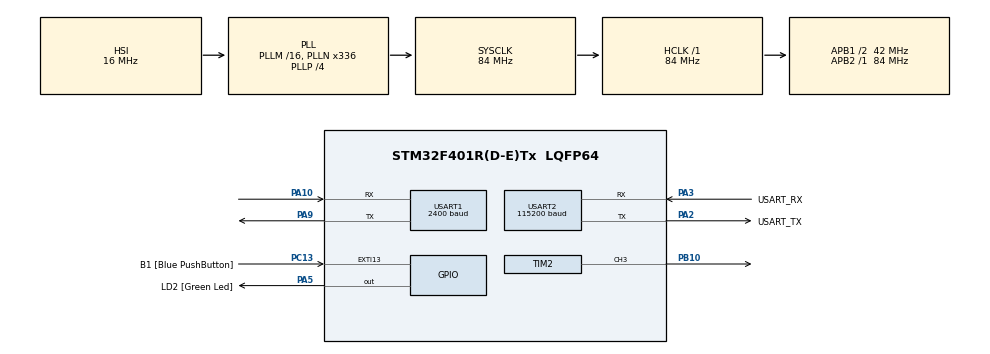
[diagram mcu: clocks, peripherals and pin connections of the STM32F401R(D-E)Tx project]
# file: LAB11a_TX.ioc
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Mcu.Family=STM32F4
Mcu.Name=STM32F401R(D-E)Tx
Mcu.Package=LQFP64
NVIC.PriorityGroup=NVIC_PRIORITYGROUP_2
NVIC.TIM3_IRQn=true\:0\:0\:false\:false\:true\:true\:true
NVIC.USART1_IRQn=true\:3\:0\:true\:false\:true\:true\:true
NVIC.USART2_IRQn=true\:3\:0\:true\:false\:true\:true\:true
PA10.Mode=Asynchronous
PA10.Signal=USART1_RX
PA13.GPIO_Label=TMS
PA13.Mode=Serial_Wire
PA13.Signal=SYS_JTMS-SWDIO
PA14.GPIO_Label=TCK
PA14.Mode=Serial_Wire
PA14.Signal=SYS_JTCK-SWCLK
PA2.GPIO_Label=USART_TX
PA2.GPIO_Mode=GPIO_MODE_AF_PP
PA2.GPIO_PuPd=GPIO_NOPULL
PA2.GPIO_Speed=GPIO_SPEED_FREQ_LOW
PA2.Mode=Asynchronous
PA2.Signal=USART2_TX
PA3.GPIO_Label=USART_RX
PA3.GPIO_Mode=GPIO_MODE_AF_PP
PA3.GPIO_PuPd=GPIO_NOPULL
PA3.GPIO_Speed=GPIO_SPEED_FREQ_LOW
PA3.Mode=Asynchronous
PA3.Signal=USART2_RX
PA5.GPIO_Label=LD2 [Green Led]
PA5.GPIO_Mode=GPIO_MODE_OUTPUT_PP
PA5.GPIO_PuPd=GPIO_NOPULL
PA5.GPIO_Speed=GPIO_SPEED_FREQ_LOW
PA5.Signal=GPIO_Output
PA9.Mode=Asynchronous
PA9.Signal=USART1_TX
PB10.Signal=S_TIM2_CH3
PB3.GPIO_Label=SWO
PB3.Signal=SYS_JTDO-SWO
PC13-ANTI_TAMP.GPIO_Label=B1 [Blue PushButton]
PC13-ANTI_TAMP.GPIO_ModeDefaultEXTI=GPIO_MODE_IT_FALLING
PC13-ANTI_TAMP.GPIO_PuPd=GPIO_NOPULL
PC13-ANTI_TAMP.Signal=GPXTI13
PC14-OSC32_IN.Mode=LSE-External-Oscillator
PC14-OSC32_IN.Signal=RCC_OSC32_IN
PC15-OSC32_OUT.Mode=LSE-External-Oscillator
PC15-OSC32_OUT.Signal=RCC_OSC32_OUT
PH0\ -\ OSC_IN.Mode=HSE-External-Clock-Source
PH0\ -\ OSC_IN.Signal=RCC_OSC_IN
PH1\ -\ OSC_OUT.Mode=HSE-External-Clock-Source
PH1\ -\ OSC_OUT.Signal=RCC_OSC_OUT
ProjectManager.HeapSize=0x200
ProjectManager.StackSize=0x400
ProjectManager.TargetToolchain=STM32CubeIDE
RCC.48MHZClocksFreq_Value=48000000
RCC.AHBFreq_Value=84000000
RCC.APB1CLKDivider=RCC_HCLK_DIV2
RCC.APB1Freq_Value=42000000
RCC.APB1TimFreq_Value=84000000
RCC.APB2Freq_Value=84000000
RCC.APB2TimFreq_Value=84000000
RCC.CortexFreq_Value=84000000
RCC.HCLKFreq_Value=84000000
RCC.HSE_VALUE=8000000
RCC.HSI_VALUE=16000000
RCC.PLLN=336
RCC.PLLP=RCC_PLLP_DIV4
RCC.PLLQ=7
RCC.SYSCLKFreq_VALUE=84000000
RCC.SYSCLKSource=RCC_SYSCLKSOURCE_PLLCLK
RCC.VCOOutputFreq_Value=336000000
SH.S_TIM2_CH3.0=TIM2_CH3,PWM Generation3 CH3
TIM2.Channel-PWM\ Generation3\ CH3=TIM_CHANNEL_3
TIM2.Period=10-1
TIM2.Prescaler=220
TIM2.Pulse-PWM\ Generation3\ CH3=5
TIM3.Period=10-1
TIM3.Prescaler=3500-1
USART1.BaudRate=2400
USART1.VirtualMode=VM_ASYNC
USART1.WordLength=WORDLENGTH_8B
USART2.BaudRate=115200
USART2.VirtualMode=VM_ASYNC
USART2.WordLength=WORDLENGTH_8B
VP_TIM2_VS_ClockSourceINT.Mode=Internal
VP_TIM3_VS_ClockSourceINT.Mode=Internal
board=NUCLEO-F401RE

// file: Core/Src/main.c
/* USER CODE BEGIN Header */
/**
  ******************************************************************************
  * @file           : main.c
  * @brief          : Main program body
  ******************************************************************************
  * @attention
  *
  * <h2><center>&copy; Copyright (c) 2021 STMicroelectronics.
  * All rights reserved.</center></h2>
  *
  * This software component is licensed by ST under BSD 3-Clause license,
  * the "License"; You may not use this file except in compliance with the
  * License. You may obtain a copy of the License at:
  *                        opensource.org/licenses/BSD-3-Clause
  *
  ******************************************************************************
  */
/* USER CODE END Header */
#include "main.h"

/* USER CODE BEGIN PD */
#define MAX_MESSAGE_LENGTH 40
/* USER CODE END PD */

TIM_HandleTypeDef htim2;
TIM_HandleTypeDef htim3;

UART_HandleTypeDef huart1;
UART_HandleTypeDef huart2;

/* USER CODE BEGIN PV */

uint8_t uart_message;

uint8_t ir_message[MAX_MESSAGE_LENGTH] = "Ciao mamma come stai\r\n";

/* USER CODE END PV */

void SystemClock_Config(void);
static void MX_GPIO_Init(void);
static void MX_USART2_UART_Init(void);
static void MX_TIM2_Init(void);
static void MX_TIM3_Init(void);
static void MX_USART1_UART_Init(void);

/* USER CODE BEGIN 0 */
void HAL_TIM_PeriodElapsedCallback(TIM_HandleTypeDef *htim){
	if(htim->Instance == htim3.Instance){
		static int message_index = 0;
		static int status = 0;
		switch (status){
		case 0:
			HAL_TIM_PWM_Start(&htim2, TIM_CHANNEL_3);
			break;
		case 9:
			HAL_TIM_PWM_Stop(&htim2, TIM_CHANNEL_3);
			break;
		default:
			if( ((ir_message[message_index] >> (status-1)) & 0b1) == 1 ){
				HAL_TIM_PWM_Stop(&htim2, TIM_CHANNEL_3);
			}
			else{
				HAL_TIM_PWM_Start(&htim2, TIM_CHANNEL_3);
			}
		}
		if(status < 9){
			status++;
		}
		else{
			status = 0;

			if( message_index < MAX_MESSAGE_LENGTH){
				message_index++;
			}
			if((ir_message[message_index] == '\0') || (message_index >= MAX_MESSAGE_LENGTH-1)){
				message_index = 0;
				HAL_TIM_Base_Stop_IT(&htim3);
			}
		}
	}

}

void HAL_UART_RxCpltCallback(UART_HandleTypeDef *huart){
if(huart->Instance == huart1.Instance){
	HAL_UART_Transmit_IT(&huart2, &uart_message, sizeof(uart_message));
	HAL_UART_Receive_IT(&huart1, &uart_message, 1);
}
}
/* USER CODE END 0 */

int main(void)
{

  /* MCU Configuration--------------------------------------------------------*/

  /* Reset of all peripherals, Initializes the Flash interface and the Systick. */
  HAL_Init();

  /* Configure the system clock */
  SystemClock_Config();

  /* Initialize all configured peripherals */
  MX_GPIO_Init();
  MX_USART2_UART_Init();
  MX_TIM2_Init();
  MX_TIM3_Init();
  MX_USART1_UART_Init();
  /* USER CODE BEGIN 2 */
  HAL_TIM_Base_Start_IT(&htim3);

  HAL_UART_Receive_IT(&huart1, &uart_message, 1);
  /* USER CODE END 2 */

  /* Infinite loop */
  /* USER CODE BEGIN WHILE */
  while (1)
  {
	  if(HAL_GPIO_ReadPin(GPIOC, GPIO_PIN_13) == 0){
		  HAL_TIM_Base_Start_IT(&htim3);
	  }
	  HAL_Delay(1000);
    /* USER CODE END WHILE */

  }
}

void SystemClock_Config(void)
{
  RCC_OscInitTypeDef RCC_OscInitStruct = {0};
  RCC_ClkInitTypeDef RCC_ClkInitStruct = {0};

  /** Configure the main internal regulator output voltage
  */
  __HAL_RCC_PWR_CLK_ENABLE();
  __HAL_PWR_VOLTAGESCALING_CONFIG(PWR_REGULATOR_VOLTAGE_SCALE2);
  /** Initializes the RCC Oscillators according to the specified parameters
  * in the RCC_OscInitTypeDef structure.
  */
  RCC_OscInitStruct.OscillatorType = RCC_OSCILLATORTYPE_HSI;
  RCC_OscInitStruct.HSIState = RCC_HSI_ON;
  RCC_OscInitStruct.HSICalibrationValue = RCC_HSICALIBRATION_DEFAULT;
  RCC_OscInitStruct.PLL.PLLState = RCC_PLL_ON;
  RCC_OscInitStruct.PLL.PLLSource = RCC_PLLSOURCE_HSI;
  RCC_OscInitStruct.PLL.PLLM = 16;
  RCC_OscInitStruct.PLL.PLLN = 336;
  RCC_OscInitStruct.PLL.PLLP = RCC_PLLP_DIV4;
  RCC_OscInitStruct.PLL.PLLQ = 7;
  if (HAL_RCC_OscConfig(&RCC_OscInitStruct) != HAL_OK)
  {
    Error_Handler();
  }
  /** Initializes the CPU, AHB and APB buses clocks
  */
  RCC_ClkInitStruct.ClockType = RCC_CLOCKTYPE_HCLK|RCC_CLOCKTYPE_SYSCLK
                              |RCC_CLOCKTYPE_PCLK1|RCC_CLOCKTYPE_PCLK2;
  RCC_ClkInitStruct.SYSCLKSource = RCC_SYSCLKSOURCE_PLLCLK;
  RCC_ClkInitStruct.AHBCLKDivider = RCC_SYSCLK_DIV1;
  RCC_ClkInitStruct.APB1CLKDivider = RCC_HCLK_DIV2;
  RCC_ClkInitStruct.APB2CLKDivider = RCC_HCLK_DIV1;

  if (HAL_RCC_ClockConfig(&RCC_ClkInitStruct, FLASH_LATENCY_2) != HAL_OK)
  {
    Error_Handler();
  }
}

static void MX_TIM2_Init(void)
{

  TIM_ClockConfigTypeDef sClockSourceConfig = {0};
  TIM_MasterConfigTypeDef sMasterConfig = {0};
  TIM_OC_InitTypeDef sConfigOC = {0};

  htim2.Instance = TIM2;
  htim2.Init.Prescaler = 220;
  htim2.Init.CounterMode = TIM_COUNTERMODE_UP;
  htim2.Init.Period = 10-1;
  htim2.Init.ClockDivision = TIM_CLOCKDIVISION_DIV1;
  htim2.Init.AutoReloadPreload = TIM_AUTORELOAD_PRELOAD_DISABLE;
  if (HAL_TIM_Base_Init(&htim2) != HAL_OK)
  {
    Error_Handler();
  }
  sClockSourceConfig.ClockSource = TIM_CLOCKSOURCE_INTERNAL;
  if (HAL_TIM_ConfigClockSource(&htim2, &sClockSourceConfig) != HAL_OK)
  {
    Error_Handler();
  }
  if (HAL_TIM_PWM_Init(&htim2) != HAL_OK)
  {
    Error_Handler();
  }
  sMasterConfig.MasterOutputTrigger = TIM_TRGO_RESET;
  sMasterConfig.MasterSlaveMode = TIM_MASTERSLAVEMODE_DISABLE;
  if (HAL_TIMEx_MasterConfigSynchronization(&htim2, &sMasterConfig) != HAL_OK)
  {
    Error_Handler();
  }
  sConfigOC.OCMode = TIM_OCMODE_PWM1;
  sConfigOC.Pulse = 5;
  sConfigOC.OCPolarity = TIM_OCPOLARITY_HIGH;
  sConfigOC.OCFastMode = TIM_OCFAST_DISABLE;
  if (HAL_TIM_PWM_ConfigChannel(&htim2, &sConfigOC, TIM_CHANNEL_3) != HAL_OK)
  {
    Error_Handler();
  }
  HAL_TIM_MspPostInit(&htim2);

}

static void MX_TIM3_Init(void)
{

  TIM_ClockConfigTypeDef sClockSourceConfig = {0};
  TIM_MasterConfigTypeDef sMasterConfig = {0};

  htim3.Instance = TIM3;
  htim3.Init.Prescaler = 3500-1;
  htim3.Init.CounterMode = TIM_COUNTERMODE_UP;
  htim3.Init.Period = 10-1;
  htim3.Init.ClockDivision = TIM_CLOCKDIVISION_DIV1;
  htim3.Init.AutoReloadPreload = TIM_AUTORELOAD_PRELOAD_DISABLE;
  if (HAL_TIM_Base_Init(&htim3) != HAL_OK)
  {
    Error_Handler();
  }
  sClockSourceConfig.ClockSource = TIM_CLOCKSOURCE_INTERNAL;
  if (HAL_TIM_ConfigClockSource(&htim3, &sClockSourceConfig) != HAL_OK)
  {
    Error_Handler();
  }
  sMasterConfig.MasterOutputTrigger = TIM_TRGO_RESET;
  sMasterConfig.MasterSlaveMode = TIM_MASTERSLAVEMODE_DISABLE;
  if (HAL_TIMEx_MasterConfigSynchronization(&htim3, &sMasterConfig) != HAL_OK)
  {
    Error_Handler();
  }

}

static void MX_USART1_UART_Init(void)
{

  huart1.Instance = USART1;
  huart1.Init.BaudRate = 2400;
  huart1.Init.WordLength = UART_WORDLENGTH_8B;
  huart1.Init.StopBits = UART_STOPBITS_1;
  huart1.Init.Parity = UART_PARITY_NONE;
  huart1.Init.Mode = UART_MODE_TX_RX;
  huart1.Init.HwFlowCtl = UART_HWCONTROL_NONE;
  huart1.Init.OverSampling = UART_OVERSAMPLING_16;
  if (HAL_UART_Init(&huart1) != HAL_OK)
  {
    Error_Handler();
  }

}

static void MX_USART2_UART_Init(void)
{

  huart2.Instance = USART2;
  huart2.Init.BaudRate = 115200;
  huart2.Init.WordLength = UART_WORDLENGTH_8B;
  huart2.Init.StopBits = UART_STOPBITS_1;
  huart2.Init.Parity = UART_PARITY_NONE;
  huart2.Init.Mode = UART_MODE_TX_RX;
  huart2.Init.HwFlowCtl = UART_HWCONTROL_NONE;
  huart2.Init.OverSampling = UART_OVERSAMPLING_16;
  if (HAL_UART_Init(&huart2) != HAL_OK)
  {
    Error_Handler();
  }

}

static void MX_GPIO_Init(void)
{
  GPIO_InitTypeDef GPIO_InitStruct = {0};

  /* GPIO Ports Clock Enable */
  __HAL_RCC_GPIOC_CLK_ENABLE();
  __HAL_RCC_GPIOH_CLK_ENABLE();
  __HAL_RCC_GPIOA_CLK_ENABLE();
  __HAL_RCC_GPIOB_CLK_ENABLE();

  /*Configure GPIO pin Output Level */
  HAL_GPIO_WritePin(LD2_GPIO_Port, LD2_Pin, GPIO_PIN_RESET);

  /*Configure GPIO pin : B1_Pin */
  GPIO_InitStruct.Pin = B1_Pin;
  GPIO_InitStruct.Mode = GPIO_MODE_IT_FALLING;
  GPIO_InitStruct.Pull = GPIO_NOPULL;
  HAL_GPIO_Init(B1_GPIO_Port, &GPIO_InitStruct);

  /*Configure GPIO pin : LD2_Pin */
  GPIO_InitStruct.Pin = LD2_Pin;
  GPIO_InitStruct.Mode = GPIO_MODE_OUTPUT_PP;
  GPIO_InitStruct.Pull = GPIO_NOPULL;
  GPIO_InitStruct.Speed = GPIO_SPEED_FREQ_LOW;
  HAL_GPIO_Init(LD2_GPIO_Port, &GPIO_InitStruct);

}

void Error_Handler(void)
{
  __disable_irq();
  while (1)
  {
  }
}

/************************ (C) COPYRIGHT STMicroelectronics *****END OF FILE****/
